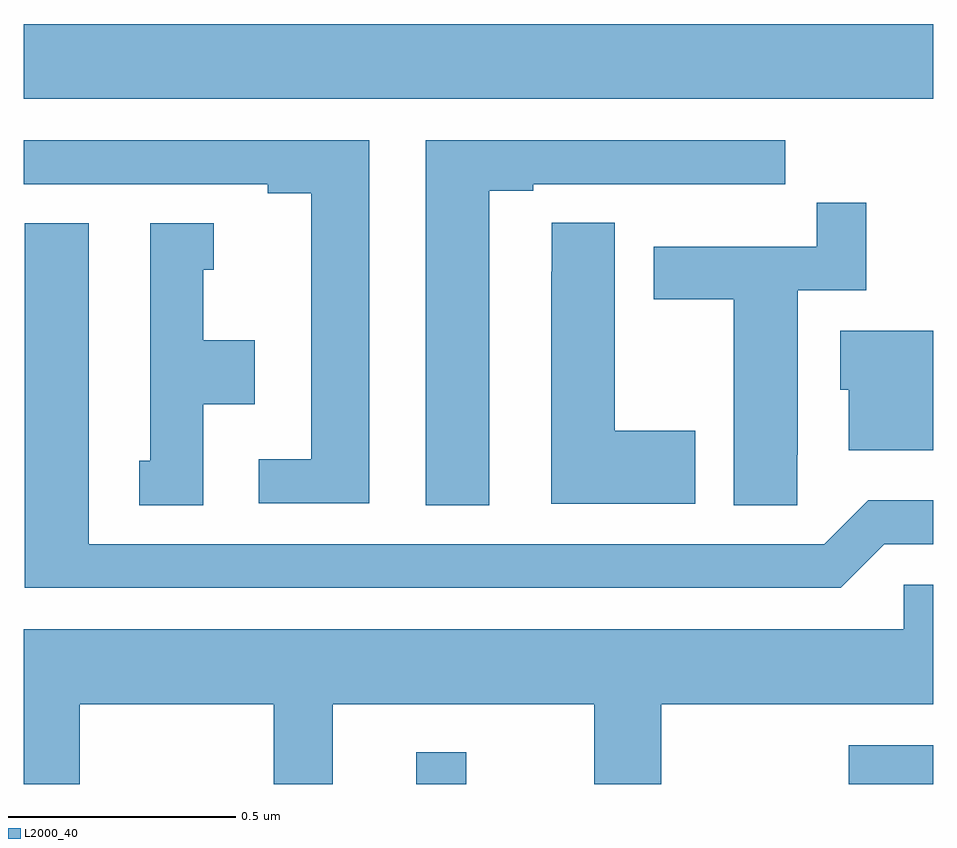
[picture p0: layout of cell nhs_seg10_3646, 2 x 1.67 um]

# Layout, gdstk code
import gdstk
lib = gdstk.Library(unit=1e-6, precision=1e-09)
def R(c, l, rs):  # rectangles x0, y0, x1, y1
    for r in rs: c.add(gdstk.rectangle(r[:2], r[2:], *l))
def P(c, l, *ps):  # polygons
    for p in ps: c.add(gdstk.Polygon(p, *l))
L2000_40 = (2000, 40)

nhs_seg10_3646 = lib.new_cell('nhs_seg10_3646')
R(nhs_seg10_3646, L2000_40, [(156.863,1273.5,156.973,1273.57), (157.814,1273.5,158,1273.585), (156,1275.008,158,1275.172)])
P(nhs_seg10_3646, L2000_40, [(157.024,1274.805),(157.12,1274.805),(157.12,1274.82),(157.396,1274.82),(157.396,1274.819),(157.562,1274.819),(157.562,1274.82),(157.675,1274.82),(157.675,1274.916),(156.884,1274.916),(156.884,1274.113),(157.024,1274.113)],
  [(156.76,1274.916),(156,1274.916),(156,1274.82),(156.536,1274.82),(156.536,1274.8),(156.632,1274.8),(156.632,1274.214),(156.516,1274.214),(156.516,1274.118),(156.76,1274.118)],
  [(157.701,1274.224),(157.702,1274.224),(157.702,1274.586),(157.853,1274.586),(157.853,1274.779),(157.744,1274.779),(157.744,1274.682),(157.385,1274.682),(157.385,1274.566),(157.562,1274.566),(157.562,1274.113),(157.701,1274.113)],
  [(157.477,1274.277),(157.3,1274.277),(157.3,1274.735),(157.161,1274.735),(157.161,1274.627),(157.16,1274.627),(157.16,1274.117),(157.477,1274.117)],
  [(156.394,1274.336),(156.508,1274.336),(156.508,1274.476),(156.394,1274.476),(156.394,1274.631),(156.418,1274.631),(156.418,1274.734),(156.278,1274.734),(156.278,1274.211),(156.254,1274.211),(156.254,1274.113),(156.394,1274.113)],
  [(157.893,1274.028),(158,1274.028),(158,1274.124),(157.857,1274.124),(157.761,1274.028),(156.142,1274.028),(156.142,1274.734),(156.002,1274.734),(156.002,1273.932),(157.797,1273.932)],
  [(158,1274.497),(157.796,1274.497),(157.796,1274.367),(157.814,1274.367),(157.814,1274.234),(158,1274.234)],
  [(156.123,1273.676),(156.55,1273.676),(156.55,1273.5),(156.679,1273.5),(156.679,1273.676),(157.255,1273.676),(157.255,1273.5),(157.402,1273.5),(157.402,1273.676),(158,1273.676),(158,1273.938),(157.935,1273.938),(157.935,1273.84),(156,1273.84),(156,1273.5),(156.123,1273.5)])

lib.write_gds('nhs_seg10_3646.gds')
